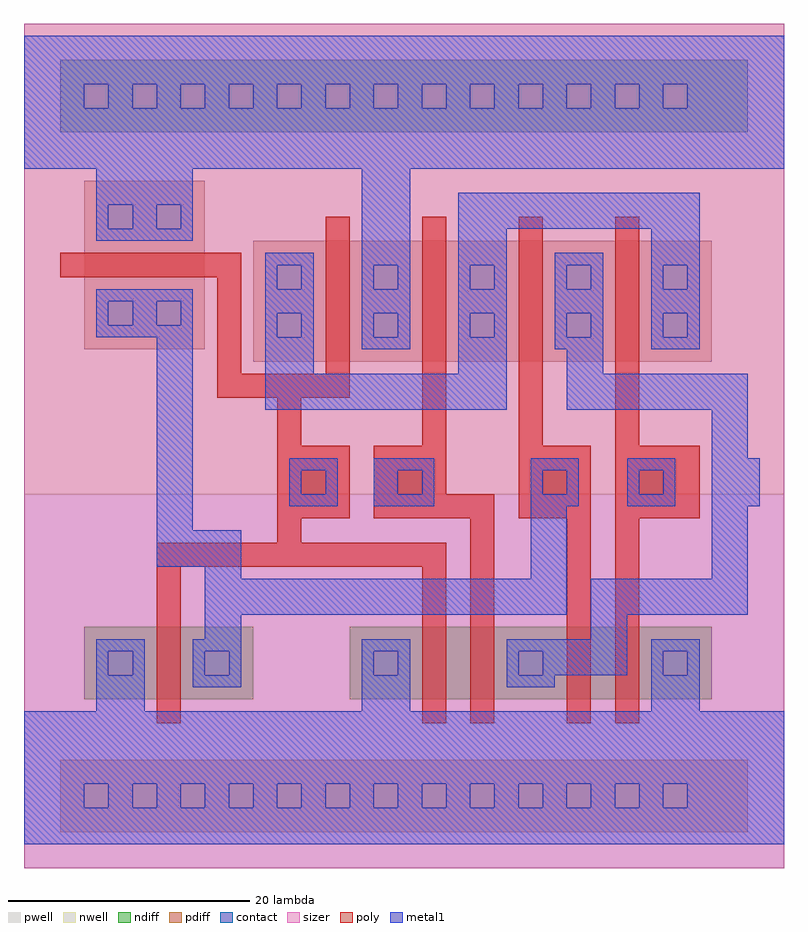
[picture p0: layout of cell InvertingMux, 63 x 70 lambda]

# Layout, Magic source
magic
tech LibreSilicon-test000-concept-mg-70-7
<< sizer >>
rect 0 0 63 70
<< metal1 >>
rect 0 65 63 69
rect 0 63 5 65
rect 7 63 9 65
rect 11 63 13 65
rect 15 63 17 65
rect 19 63 21 65
rect 23 63 25 65
rect 27 63 29 65
rect 31 63 33 65
rect 35 63 37 65
rect 39 63 41 65
rect 43 63 45 65
rect 47 63 49 65
rect 51 63 53 65
rect 55 63 63 65
rect 0 58 63 63
rect 6 55 14 58
rect 28 50 32 58
rect 36 53 56 56
rect 6 53 7 55
rect 9 53 11 55
rect 13 53 14 55
rect 6 52 14 53
rect 36 50 40 53
rect 52 50 56 53
rect 20 50 24 51
rect 44 50 48 51
rect 20 48 21 50
rect 23 48 24 50
rect 28 48 29 50
rect 31 48 32 50
rect 36 48 37 50
rect 39 48 40 50
rect 44 48 45 50
rect 47 48 48 50
rect 52 48 53 50
rect 55 48 56 50
rect 6 47 14 48
rect 20 46 24 48
rect 28 46 32 48
rect 36 46 40 48
rect 44 46 48 48
rect 52 46 56 48
rect 6 45 7 47
rect 9 45 11 47
rect 13 45 14 47
rect 20 44 21 46
rect 23 44 24 46
rect 28 44 29 46
rect 31 44 32 46
rect 36 44 37 46
rect 39 44 40 46
rect 44 44 45 46
rect 47 44 48 46
rect 52 44 53 46
rect 55 44 56 46
rect 6 44 14 45
rect 11 28 14 44
rect 20 41 24 44
rect 28 43 32 44
rect 36 41 40 44
rect 44 43 48 44
rect 52 43 56 44
rect 45 41 48 43
rect 20 38 40 41
rect 45 38 60 41
rect 57 34 60 38
rect 22 33 26 34
rect 29 33 34 34
rect 42 33 46 34
rect 50 33 54 34
rect 57 30 61 34
rect 22 31 23 33
rect 25 31 26 33
rect 29 31 31 33
rect 33 31 34 33
rect 42 31 43 33
rect 45 31 46 33
rect 50 31 51 33
rect 53 31 54 33
rect 22 30 26 31
rect 29 30 34 31
rect 42 30 46 31
rect 50 30 54 31
rect 42 24 45 30
rect 57 24 60 30
rect 11 25 18 28
rect 15 24 18 25
rect 15 21 45 24
rect 47 21 60 24
rect 15 19 18 21
rect 47 19 50 21
rect 6 18 10 19
rect 14 18 18 19
rect 28 18 32 19
rect 40 18 50 19
rect 52 18 56 19
rect 6 16 7 18
rect 9 16 10 18
rect 14 16 15 18
rect 17 16 18 18
rect 28 16 29 18
rect 31 16 32 18
rect 40 16 41 18
rect 43 16 50 18
rect 52 16 53 18
rect 55 16 56 18
rect 6 13 10 16
rect 14 15 18 16
rect 28 13 32 16
rect 40 15 44 16
rect 52 13 56 16
rect 0 7 63 13
rect 0 5 5 7
rect 7 5 9 7
rect 11 5 13 7
rect 15 5 17 7
rect 19 5 21 7
rect 23 5 25 7
rect 27 5 29 7
rect 31 5 33 7
rect 35 5 37 7
rect 39 5 41 7
rect 43 5 45 7
rect 47 5 49 7
rect 51 5 53 7
rect 55 5 63 7
rect 0 2 63 5
<< contact >>
rect 5 63 7 65
rect 9 63 11 65
rect 13 63 15 65
rect 17 63 19 65
rect 21 63 23 65
rect 25 63 27 65
rect 29 63 31 65
rect 33 63 35 65
rect 37 63 39 65
rect 41 63 43 65
rect 45 63 47 65
rect 49 63 51 65
rect 53 63 55 65
rect 7 53 9 55
rect 11 53 13 55
rect 21 48 23 50
rect 29 48 31 50
rect 37 48 39 50
rect 45 48 47 50
rect 53 48 55 50
rect 7 45 9 47
rect 11 45 13 47
rect 21 44 23 46
rect 29 44 31 46
rect 37 44 39 46
rect 45 44 47 46
rect 53 44 55 46
rect 23 31 25 33
rect 31 31 33 33
rect 43 31 45 33
rect 51 31 53 33
rect 7 16 9 18
rect 15 16 17 18
rect 29 16 31 18
rect 41 16 43 18
rect 53 16 55 18
rect 5 5 7 7
rect 9 5 11 7
rect 13 5 15 7
rect 17 5 19 7
rect 21 5 23 7
rect 25 5 27 7
rect 29 5 31 7
rect 33 5 35 7
rect 37 5 39 7
rect 41 5 43 7
rect 45 5 47 7
rect 49 5 51 7
rect 53 5 55 7
<< poly >>
rect 25 41 27 54
rect 33 35 35 54
rect 41 35 43 54
rect 49 35 51 54
rect 3 49 18 51
rect 16 41 18 49
rect 16 39 27 41
rect 21 35 23 39
rect 21 29 27 35
rect 29 31 35 35
rect 41 29 47 35
rect 49 29 56 35
rect 29 29 39 31
rect 21 27 23 29
rect 37 12 39 29
rect 45 12 47 29
rect 49 12 51 29
rect 11 25 35 27
rect 11 12 13 25
rect 33 12 35 25
<< ndiff >>
rect 3 61 60 67
rect 5 14 19 20
rect 27 14 57 20
<< pdiff >>
rect 5 43 15 57
rect 19 42 57 52
rect 3 3 60 9
<< nwell >>
rect 0 31 63 70
<< pwell >>
rect 0 0 63 31
<< end >>
